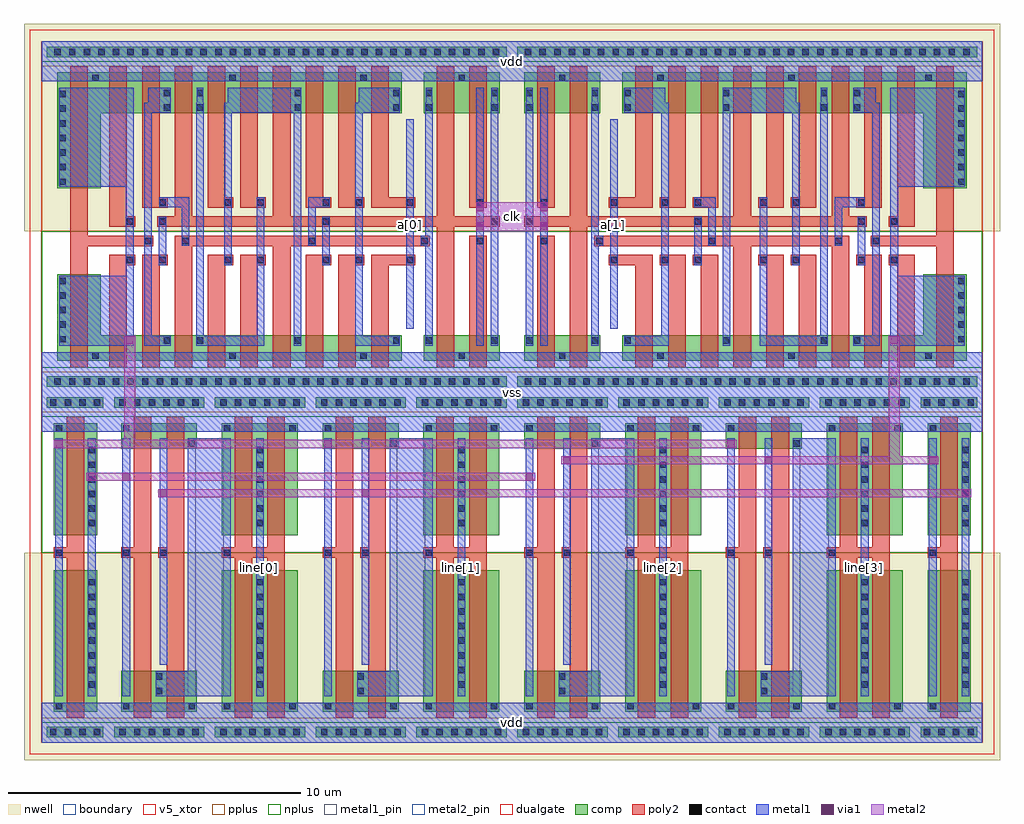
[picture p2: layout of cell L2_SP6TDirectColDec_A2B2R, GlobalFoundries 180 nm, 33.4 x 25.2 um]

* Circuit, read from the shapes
.subckt L2_SP6TDirectColDec_A2B2R a[0] a[1] clk line[0] line[1] line[2] line[3] vdd vss
XM1 L2_Dec5V_nand2_x0_5v0_4/i0 L2_Dec5V_inv_x1_5v0_8/i vss vss nfet_05v0 w=3.835u l=0.6u
XM2 vss n1 L2_Dec5V_inv_x1_5v0_8/i vss nfet_05v0 w=2.965u l=0.6u
XM3 n2 L2_Dec5V_inv_x1_5v0_8/i vss vss nfet_05v0 w=0.88u l=0.6u
XM4 n3 L2_Dec5V_nand2_x0_5v0_4/i0 vss vss nfet_05v0 w=0.88u l=0.6u
XM5 n1 n4 n2 vss nfet_05v0 w=0.88u l=0.6u
XM6 L2_Dec5V_inv_x2_5v0_0/i L2_Dec5V_nand2_x0_5v0_4/i1 n3 vss nfet_05v0 w=0.88u l=0.6u
XM7 n5 n6 n1 vss nfet_05v0 w=0.88u l=0.6u
XM8 vss n7 n5 vss nfet_05v0 w=0.88u l=0.6u
XM9 line[0] L2_Dec5V_inv_x2_5v0_0/i vss vss nfet_05v0 w=3.835u l=0.6u m=2
XM10 n8 n5 vss vss nfet_05v0 w=0.88u l=0.6u
XM11 n7 n6 n8 vss nfet_05v0 w=0.88u l=0.6u
XM12 n9 n4 n7 vss nfet_05v0 w=0.88u l=0.6u
XM13 n10 L2_Dec5V_inv_x1_5v0_8/i vss vss nfet_05v0 w=0.88u l=0.6u
XM14 vss n11 n9 vss nfet_05v0 w=0.88u l=0.6u
XM15 L2_Dec5V_inv_x2_5v0_1/i L2_Dec5V_nand2_x0_5v0_4/i1 n10 vss nfet_05v0 w=0.88u l=0.6u
XM16 n11 a[0] vss vss nfet_05v0 w=0.88u l=0.6u
XM17 line[1] L2_Dec5V_inv_x2_5v0_1/i vss vss nfet_05v0 w=3.835u l=0.6u m=2
XM18 vss n4 n6 vss nfet_05v0 w=0.88u l=0.6u
XM19 n4 clk vss vss nfet_05v0 w=0.88u l=0.6u
XM20 n12 L2_Dec5V_nand2_x0_5v0_4/i0 vss vss nfet_05v0 w=0.88u l=0.6u
XM21 vss clk n13 vss nfet_05v0 w=0.88u l=0.6u
XM22 L2_Dec5V_inv_x2_5v0_2/i L2_Dec5V_inv_x1_5v0_9/i n12 vss nfet_05v0 w=0.88u l=0.6u
XM23 n14 n13 vss vss nfet_05v0 w=0.88u l=0.6u
XM24 vss a[1] n15 vss nfet_05v0 w=0.88u l=0.6u
XM25 line[2] L2_Dec5V_inv_x2_5v0_2/i vss vss nfet_05v0 w=3.835u l=0.6u m=2
XM26 n16 n15 vss vss nfet_05v0 w=0.88u l=0.6u
XM27 n17 n13 n16 vss nfet_05v0 w=0.88u l=0.6u
XM28 n18 n14 n17 vss nfet_05v0 w=0.88u l=0.6u
XM29 n19 L2_Dec5V_inv_x1_5v0_8/i vss vss nfet_05v0 w=0.88u l=0.6u
XM30 vss n20 n18 vss nfet_05v0 w=0.88u l=0.6u
XM31 L2_Dec5V_inv_x2_5v0_3/i L2_Dec5V_inv_x1_5v0_9/i n19 vss nfet_05v0 w=0.88u l=0.6u
XM32 n20 n17 vss vss nfet_05v0 w=0.88u l=0.6u
XM33 n21 n14 n20 vss nfet_05v0 w=0.88u l=0.6u
XM34 line[3] L2_Dec5V_inv_x2_5v0_3/i vss vss nfet_05v0 w=3.835u l=0.6u m=2
XM35 n22 n13 n21 vss nfet_05v0 w=0.88u l=0.6u
XM36 vss L2_Dec5V_inv_x1_5v0_9/i n22 vss nfet_05v0 w=0.88u l=0.6u
XM37 L2_Dec5V_inv_x1_5v0_9/i n21 vss vss nfet_05v0 w=2.965u l=0.6u
XM38 L2_Dec5V_nand2_x0_5v0_4/i1 L2_Dec5V_inv_x1_5v0_9/i vss vss nfet_05v0 w=3.835u l=0.6u
XM39 L2_Dec5V_nand2_x0_5v0_4/i0 L2_Dec5V_inv_x1_5v0_8/i vdd vdd pfet_05v0 w=4.835u l=0.6u
XM40 vdd n1 L2_Dec5V_inv_x1_5v0_8/i vdd pfet_05v0 w=3.965u l=0.6u
XM41 n23 L2_Dec5V_inv_x1_5v0_8/i vdd vdd pfet_05v0 w=1.4u l=0.6u
XM42 L2_Dec5V_inv_x2_5v0_0/i L2_Dec5V_nand2_x0_5v0_4/i0 vdd vdd pfet_05v0 w=1.4u l=0.6u
XM43 n1 n6 n23 vdd pfet_05v0 w=1.4u l=0.6u
XM44 vdd L2_Dec5V_nand2_x0_5v0_4/i1 L2_Dec5V_inv_x2_5v0_0/i vdd pfet_05v0 w=1.4u l=0.6u
XM45 n5 n4 n1 vdd pfet_05v0 w=1.4u l=0.6u
XM46 vdd n7 n5 vdd pfet_05v0 w=1.4u l=0.6u
XM47 line[0] L2_Dec5V_inv_x2_5v0_0/i vdd vdd pfet_05v0 w=4.835u l=0.6u m=2
XM48 n24 n5 vdd vdd pfet_05v0 w=1.4u l=0.6u
XM49 n7 n4 n24 vdd pfet_05v0 w=1.4u l=0.6u
XM50 n25 n6 n7 vdd pfet_05v0 w=1.4u l=0.6u
XM51 L2_Dec5V_inv_x2_5v0_1/i L2_Dec5V_inv_x1_5v0_8/i vdd vdd pfet_05v0 w=1.4u l=0.6u
XM52 vdd n11 n25 vdd pfet_05v0 w=1.4u l=0.6u
XM53 vdd L2_Dec5V_nand2_x0_5v0_4/i1 L2_Dec5V_inv_x2_5v0_1/i vdd pfet_05v0 w=1.4u l=0.6u
XM54 n11 a[0] vdd vdd pfet_05v0 w=1.4u l=0.6u
XM55 line[1] L2_Dec5V_inv_x2_5v0_1/i vdd vdd pfet_05v0 w=4.835u l=0.6u m=2
XM56 vdd n4 n6 vdd pfet_05v0 w=1.4u l=0.6u
XM57 n4 clk vdd vdd pfet_05v0 w=1.4u l=0.6u
XM58 L2_Dec5V_inv_x2_5v0_2/i L2_Dec5V_nand2_x0_5v0_4/i0 vdd vdd pfet_05v0 w=1.4u l=0.6u
XM59 vdd clk n13 vdd pfet_05v0 w=1.4u l=0.6u
XM60 vdd L2_Dec5V_inv_x1_5v0_9/i L2_Dec5V_inv_x2_5v0_2/i vdd pfet_05v0 w=1.4u l=0.6u
XM61 n14 n13 vdd vdd pfet_05v0 w=1.4u l=0.6u
XM62 vdd a[1] n15 vdd pfet_05v0 w=1.4u l=0.6u
XM63 line[2] L2_Dec5V_inv_x2_5v0_2/i vdd vdd pfet_05v0 w=4.835u l=0.6u m=2
XM64 n26 n15 vdd vdd pfet_05v0 w=1.4u l=0.6u
XM65 n17 n14 n26 vdd pfet_05v0 w=1.4u l=0.6u
XM66 n27 n13 n17 vdd pfet_05v0 w=1.4u l=0.6u
XM67 L2_Dec5V_inv_x2_5v0_3/i L2_Dec5V_inv_x1_5v0_8/i vdd vdd pfet_05v0 w=1.4u l=0.6u
XM68 vdd n20 n27 vdd pfet_05v0 w=1.4u l=0.6u
XM69 vdd L2_Dec5V_inv_x1_5v0_9/i L2_Dec5V_inv_x2_5v0_3/i vdd pfet_05v0 w=1.4u l=0.6u
XM70 n20 n17 vdd vdd pfet_05v0 w=1.4u l=0.6u
XM71 n21 n13 n20 vdd pfet_05v0 w=1.4u l=0.6u
XM72 line[3] L2_Dec5V_inv_x2_5v0_3/i vdd vdd pfet_05v0 w=4.835u l=0.6u m=2
XM73 n28 n14 n21 vdd pfet_05v0 w=1.4u l=0.6u
XM74 vdd L2_Dec5V_inv_x1_5v0_9/i n28 vdd pfet_05v0 w=1.4u l=0.6u
XM75 L2_Dec5V_inv_x1_5v0_9/i n21 vdd vdd pfet_05v0 w=3.965u l=0.6u
XM76 L2_Dec5V_nand2_x0_5v0_4/i1 L2_Dec5V_inv_x1_5v0_9/i vdd vdd pfet_05v0 w=4.835u l=0.6u
.ends

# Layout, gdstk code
from math import pi, radians
import gdstk
lib = gdstk.Library(unit=1e-6, precision=1e-09)
def R(c, l, rs):  # rectangles x0, y0, x1, y1
    for r in rs: c.add(gdstk.rectangle(r[:2], r[2:], *l))
def A(c, l, x, y, w, h, nx, ny, dx, dy):  # array of equal rectangles
    R(c, l, [(x+i*dx, y+j*dy, x+i*dx+w, y+j*dy+h) for i in range(nx) for j in range(ny)])
def P(c, l, *ps):  # polygons
    for p in ps: c.add(gdstk.Polygon(p, *l))
boundary = (0, 0)
nwell = (21, 0)
comp = (22, 0)
poly2 = (30, 0)
pplus = (31, 0)
nplus = (32, 0)
contact = (33, 0)
metal1 = (34, 0)
metal1_pin = (34, 10)
via1 = (35, 0)
metal2 = (36, 0)
metal2_pin = (36, 10)
dualgate = (55, 0)
v5_xtor = (112, 1)

l2_dec5v_inv_x2_5v0 = lib.new_cell('L2_Dec5V_inv_x2_5v0')
R(l2_dec5v_inv_x2_5v0, nwell, [(-0.6,5.5,4.05,12.6)])
R(l2_dec5v_inv_x2_5v0, comp, [(0.18,0.18,3.27,0.54), (0.42,1.065,3.02,4.9), (0.42,6.1,3.02,10.935), (0.18,11.46,3.27,11.82)])
P(l2_dec5v_inv_x2_5v0, poly2, [(0.86,0.845),(0.86,5.32),(0.42,5.32),(0.42,5.68),(0.86,5.68),(0.86,11.155),(1.46,11.155),(1.46,5.68),(1.98,5.68),(1.98,11.155),(2.58,11.155),(2.58,0.845),(1.98,0.845),(1.98,5.32),(1.46,5.32),(1.46,0.845)])
R(l2_dec5v_inv_x2_5v0, pplus, [(0,0,3.45,0.7), (0,5.5,3.45,11.165)])
R(l2_dec5v_inv_x2_5v0, nplus, [(0,0.835,3.45,5.5), (0,11.3,3.45,12)])
A(l2_dec5v_inv_x2_5v0, contact, 0.365, 0.25, 0.22, 0.22, 6, 2, 0.5, 11.28)
A(l2_dec5v_inv_x2_5v0, contact, 1.61, 1.88, 0.22, 0.22, 1, 6, 0, 0.5)
A(l2_dec5v_inv_x2_5v0, contact, 1.61, 6.4, 0.22, 0.22, 1, 8, 0, 0.5)
R(l2_dec5v_inv_x2_5v0, contact, [(0.49,1.135,0.71,1.355), (2.73,1.135,2.95,1.355), (0.49,5.39,0.71,5.61), (0.49,10.645,0.71,10.865), (2.73,10.645,2.95,10.865)])
R(l2_dec5v_inv_x2_5v0, metal1, [(0,0,3.45,1.36), (0.47,1.59,0.73,10.41), (1.59,1.59,1.85,10.41), (0,10.64,3.45,12)])
R(l2_dec5v_inv_x2_5v0, metal1_pin, [(0,0,3.45,1.36), (0.47,1.59,0.73,10.41), (1.59,1.59,1.85,10.41), (0,10.64,3.45,12)])
R(l2_dec5v_inv_x2_5v0, dualgate, [(-0.4,-0.4,3.85,12.4)])
R(l2_dec5v_inv_x2_5v0, v5_xtor, [(-0.005,-0.005,3.455,12.005)])
l2_dec5v_inv_x2_5v0.add(gdstk.Label('i', (0.6,6), layer=34, texttype=10))
l2_dec5v_inv_x2_5v0.add(gdstk.Label('nq', (1.72,6), layer=34, texttype=10))
l2_dec5v_inv_x2_5v0.add(gdstk.Label('vdd', (1.725,11.32), layer=34, texttype=10))
l2_dec5v_inv_x2_5v0.add(gdstk.Label('vss', (1.725,0.68), layer=34, texttype=10))

l2_dec5v_nand2_x0_5v0 = lib.new_cell('L2_Dec5V_nand2_x0_5v0')
R(l2_dec5v_nand2_x0_5v0, nwell, [(-0.6,5.5,4.05,12.6)])
R(l2_dec5v_nand2_x0_5v0, comp, [(0.18,0.18,3.27,0.54), (0.42,1.065,3.02,1.945), (0.42,9.535,3.02,10.935), (0.18,11.46,3.27,11.82)])
P(l2_dec5v_nand2_x0_5v0, poly2, [(1.98,0.845),(1.98,5.32),(1.7,5.32),(1.7,5.68),(1.98,5.68),(1.98,11.155),(2.58,11.155),(2.58,0.845)],
  [(0.86,0.845),(0.86,5.32),(0.42,5.32),(0.42,5.68),(0.86,5.68),(0.86,11.155),(1.46,11.155),(1.46,0.845)])
R(l2_dec5v_nand2_x0_5v0, pplus, [(0,0,3.45,0.7), (0,5.5,3.45,11.165)])
R(l2_dec5v_nand2_x0_5v0, nplus, [(0,0.835,3.45,5.5), (0,11.3,3.45,12)])
A(l2_dec5v_nand2_x0_5v0, contact, 0.365, 0.25, 0.22, 0.22, 6, 2, 0.5, 11.28)
R(l2_dec5v_nand2_x0_5v0, contact, [(0.49,1.135,0.71,1.355), (2.73,1.65,2.95,1.87), (0.49,5.39,0.71,5.61), (1.77,5.39,1.99,5.61), (1.61,9.62,1.83,9.84), (1.61,10.12,1.83,10.34), (0.49,10.645,0.71,10.865), (2.73,10.645,2.95,10.865)])
R(l2_dec5v_nand2_x0_5v0, metal1, [(0,0,3.45,1.36), (0.47,1.59,0.73,10.41), (1.75,1.59,2.01,9.33), (0,10.64,3.45,12)])
P(l2_dec5v_nand2_x0_5v0, metal1, [(2.71,1.59),(2.71,9.56),(1.605,9.56),(1.605,10.41),(2.97,10.41),(2.97,1.59)])
R(l2_dec5v_nand2_x0_5v0, metal1_pin, [(0,0,3.45,1.36), (0.47,1.59,0.73,10.41), (1.75,1.59,2.01,9.33), (2.71,1.59,2.97,10.41), (0,10.64,3.45,12)])
R(l2_dec5v_nand2_x0_5v0, dualgate, [(-0.4,-0.4,3.85,12.4)])
R(l2_dec5v_nand2_x0_5v0, v5_xtor, [(-0.005,-0.005,3.455,12.005)])
l2_dec5v_nand2_x0_5v0.add(gdstk.Label('nq', (2.84,6), layer=34, texttype=10))
l2_dec5v_nand2_x0_5v0.add(gdstk.Label('i1', (1.88,5.46), layer=34, texttype=10))
l2_dec5v_nand2_x0_5v0.add(gdstk.Label('i0', (0.6,6), layer=34, texttype=10))
l2_dec5v_nand2_x0_5v0.add(gdstk.Label('vdd', (1.725,11.32), layer=34, texttype=10))
l2_dec5v_nand2_x0_5v0.add(gdstk.Label('vss', (1.725,0.68), layer=34, texttype=10))

l2_dec5v_inv_x1_5v0 = lib.new_cell('L2_Dec5V_inv_x1_5v0')
R(l2_dec5v_inv_x1_5v0, nwell, [(-0.6,5.5,2.9,12.6)])
R(l2_dec5v_inv_x1_5v0, comp, [(0.18,0.18,2.12,0.54), (0.42,1.065,1.9,4.9), (0.42,6.1,1.9,10.935), (0.18,11.46,2.12,11.82)])
P(l2_dec5v_inv_x1_5v0, poly2, [(0.86,0.845),(0.86,5.32),(0.42,5.32),(0.42,5.68),(0.86,5.68),(0.86,11.155),(1.46,11.155),(1.46,0.845)])
R(l2_dec5v_inv_x1_5v0, pplus, [(0,0,2.3,0.7), (0,5.5,2.3,11.165)])
R(l2_dec5v_inv_x1_5v0, nplus, [(0,0.835,2.3,5.5), (0,11.3,2.3,12)])
A(l2_dec5v_inv_x1_5v0, contact, 0.29, 0.25, 0.22, 0.22, 4, 2, 0.5, 11.28)
A(l2_dec5v_inv_x1_5v0, contact, 1.61, 1.88, 0.22, 0.22, 1, 6, 0, 0.5)
A(l2_dec5v_inv_x1_5v0, contact, 1.61, 6.4, 0.22, 0.22, 1, 8, 0, 0.5)
R(l2_dec5v_inv_x1_5v0, contact, [(0.49,1.135,0.71,1.355), (0.49,5.39,0.71,5.61), (0.49,10.645,0.71,10.865)])
R(l2_dec5v_inv_x1_5v0, metal1, [(0,0,2.3,1.36), (0.47,1.59,0.73,10.41), (1.59,1.59,1.85,10.41), (0,10.64,2.3,12)])
R(l2_dec5v_inv_x1_5v0, metal1_pin, [(0,0,2.3,1.36), (0.47,1.59,0.73,10.41), (1.59,1.59,1.85,10.41), (0,10.64,2.3,12)])
R(l2_dec5v_inv_x1_5v0, dualgate, [(-0.4,-0.4,2.7,12.4)])
R(l2_dec5v_inv_x1_5v0, v5_xtor, [(-0.005,-0.005,2.305,12.005)])
l2_dec5v_inv_x1_5v0.add(gdstk.Label('i', (0.6,6), layer=34, texttype=10))
l2_dec5v_inv_x1_5v0.add(gdstk.Label('nq', (1.72,6), layer=34, texttype=10))
l2_dec5v_inv_x1_5v0.add(gdstk.Label('vdd', (1.15,11.32), layer=34, texttype=10))
l2_dec5v_inv_x1_5v0.add(gdstk.Label('vss', (1.15,0.68), layer=34, texttype=10))

l2_dec5v_dff_x1_5v0 = lib.new_cell('L2_Dec5V_dff_x1_5v0')
R(l2_dec5v_dff_x1_5v0, nwell, [(-0.6,5.5,16.7,12.6)])
R(l2_dec5v_dff_x1_5v0, comp, [(0.18,0.18,15.92,0.54), (0.42,1.065,3.02,1.945), (0.42,9.535,3.02,10.935), (0.18,11.46,15.92,11.82)])
P(l2_dec5v_dff_x1_5v0, comp, [(3.78,1.065),(3.78,1.945),(14.08,1.945),(14.08,4.03),(15.56,4.03),(15.56,1.065)],
  [(14.08,6.97),(14.08,9.535),(3.78,9.535),(3.78,10.935),(15.56,10.935),(15.56,6.97)])
R(l2_dec5v_dff_x1_5v0, poly2, [(0.86,0.845,1.46,5.35), (0.86,6.31,1.46,11.155)])
P(l2_dec5v_dff_x1_5v0, poly2, [(12.9,5.65),(12.9,6.01),(13.18,6.01),(13.18,11.155),(13.78,11.155),(13.78,5.65)],
  [(14.52,0.845),(14.52,4.99),(12.27,4.99),(12.27,5.35),(14.52,5.35),(14.52,11.155),(15.12,11.155),(15.12,0.845)],
  [(4.22,0.845),(4.22,4.33),(3.31,4.33),(3.31,4.69),(4.82,4.69),(4.82,0.845)],
  [(7.58,0.845),(7.58,4.99),(2.82,4.99),(2.82,5.35),(11.54,5.35),(11.54,0.845),(10.94,0.845),(10.94,4.99),(8.18,4.99),(8.18,0.845)],
  [(5.06,6.31),(5.06,6.67),(5.34,6.67),(5.34,11.155),(5.94,11.155),(5.94,6.31)],
  [(6.18,6.31),(6.18,6.67),(6.46,6.67),(6.46,11.155),(7.06,11.155),(7.06,6.31)],
  [(8.42,6.31),(8.42,6.67),(8.7,6.67),(8.7,11.155),(9.3,11.155),(9.3,6.31)],
  [(9.54,6.31),(9.54,6.67),(9.82,6.67),(9.82,11.155),(10.42,11.155),(10.42,6.31)],
  [(11.78,6.31),(11.78,6.67),(12.06,6.67),(12.06,11.155),(12.66,11.155),(12.66,6.31)],
  [(5.34,0.845),(5.34,4.33),(5.06,4.33),(5.06,4.69),(5.94,4.69),(5.94,0.845)],
  [(6.46,0.845),(6.46,4.33),(6.18,4.33),(6.18,4.69),(7.06,4.69),(7.06,0.845)],
  [(8.7,0.845),(8.7,4.33),(8.42,4.33),(8.42,4.69),(9.3,4.69),(9.3,0.845)],
  [(9.82,0.845),(9.82,4.33),(9.54,4.33),(9.54,4.69),(10.42,4.69),(10.42,0.845)],
  [(12.06,0.845),(12.06,4.33),(11.78,4.33),(11.78,4.69),(12.66,4.69),(12.66,0.845)],
  [(13.18,0.845),(13.18,4.33),(12.9,4.33),(12.9,4.69),(13.78,4.69),(13.78,0.845)],
  [(3.31,6.31),(3.31,6.67),(4.22,6.67),(4.22,11.155),(4.82,11.155),(4.82,6.31)],
  [(1.98,0.845),(1.98,5.65),(0.42,5.65),(0.42,6.01),(1.98,6.01),(1.98,11.155),(2.58,11.155),(2.58,6.01),(7.58,6.01),(7.58,11.155),(8.18,11.155),(8.18,6.01),(10.94,6.01),(10.94,11.155),(11.54,11.155),(11.54,6.01),(12.14,6.01),(12.14,5.65),(2.58,5.65),(2.58,0.845)])
R(l2_dec5v_dff_x1_5v0, pplus, [(0,0,16.1,0.7), (0,5.5,16.1,11.165)])
R(l2_dec5v_dff_x1_5v0, nplus, [(0,0.835,16.1,5.5), (0,11.3,16.1,12)])
A(l2_dec5v_dff_x1_5v0, contact, 0.44, 0.25, 0.22, 0.22, 31, 2, 0.5, 11.28)
A(l2_dec5v_dff_x1_5v0, contact, 3.85, 1.65, 0.22, 0.22, 3, 2, 3.36, 7.97)
A(l2_dec5v_dff_x1_5v0, contact, 15.27, 1.695, 0.22, 0.22, 1, 5, 0, 0.5)
A(l2_dec5v_dff_x1_5v0, contact, 15.27, 7.085, 0.22, 0.22, 1, 7, 0, 0.5)
A(l2_dec5v_dff_x1_5v0, contact, 3.85, 10.12, 0.22, 0.22, 3, 1, 3.36, 0)
R(l2_dec5v_dff_x1_5v0, contact, [(1.61,1.135,1.83,1.355), (4.97,1.135,5.19,1.355), (9.45,1.135,9.67,1.355), (14.15,1.135,14.37,1.355), (0.49,1.65,0.71,1.87), (2.73,1.65,2.95,1.87), (11.69,1.65,11.91,1.87), (3.38,4.4,3.6,4.62), (5.13,4.4,5.35,4.62), (6.25,4.4,6.47,4.62), (8.49,4.4,8.71,4.62), (9.61,4.4,9.83,4.62), (11.85,4.4,12.07,4.62), (12.97,4.4,13.19,4.62), (0.98,5.06,1.2,5.28), (2.89,5.06,3.11,5.28), (6.74,5.06,6.96,5.28), (11.06,5.06,11.28,5.28), (12.34,5.06,12.56,5.28), (0.49,5.72,0.71,5.94), (6.25,5.72,6.47,5.94), (11.85,5.72,12.07,5.94), (12.97,5.72,13.19,5.94), (0.98,6.38,1.2,6.6), (3.38,6.38,3.6,6.6), (5.13,6.38,5.35,6.6), (6.25,6.38,6.47,6.6), (8.49,6.38,8.71,6.6), (9.61,6.38,9.83,6.6), (11.85,6.38,12.07,6.6), (0.49,9.62,0.71,9.84), (2.73,9.62,2.95,9.84), (11.69,9.62,11.91,9.84), (0.49,10.12,0.71,10.34), (2.73,10.12,2.95,10.34), (11.69,10.12,11.91,10.34), (1.61,10.645,1.83,10.865), (4.97,10.645,5.19,10.865), (9.45,10.645,9.67,10.865), (14.15,10.645,14.37,10.865)])
R(l2_dec5v_dff_x1_5v0, metal1, [(0,0,16.1,1.36), (0.96,1.59,1.22,10.41), (3.36,2.16,3.62,9.33), (6.23,4.34,6.49,6), (11.83,4.34,12.09,6), (0,10.64,16.1,12)])
P(l2_dec5v_dff_x1_5v0, metal1, [(11.685,1.59),(11.685,1.93),(12.32,1.93),(12.32,9.56),(11.685,9.56),(11.685,10.41),(12.45,10.41),(12.45,9.9),(12.58,9.9),(12.58,1.59)],
  [(8.47,1.59),(8.47,6.66),(8.73,6.66),(8.73,1.93),(10.55,1.93),(10.55,9.9),(10.565,9.9),(10.565,10.41),(10.795,10.41),(10.795,9.9),(10.81,9.9),(10.81,1.59)],
  [(3.845,1.59),(3.845,1.93),(5.11,1.93),(5.11,9.56),(3.845,9.56),(3.845,10.41),(5.24,10.41),(5.24,9.9),(5.37,9.9),(5.37,1.59)],
  [(2.71,1.59),(2.71,9.9),(2.725,9.9),(2.725,10.41),(2.955,10.41),(2.955,9.9),(2.97,9.9),(2.97,5.34),(3.115,5.34),(3.115,5),(2.97,5),(2.97,1.59)],
  [(12.95,1.59),(12.95,10.41),(15.495,10.41),(15.495,7.025),(13.21,7.025),(13.21,3.975),(15.495,3.975),(15.495,1.59)],
  [(11.04,5),(11.04,6.66),(12.075,6.66),(12.075,6.32),(11.3,6.32),(11.3,5)],
  [(6.72,5),(6.72,6.32),(6.245,6.32),(6.245,6.66),(6.98,6.66),(6.98,5)],
  [(7.205,1.59),(7.205,1.93),(7.21,1.93),(7.21,9.56),(7.205,9.56),(7.205,10.41),(9.72,10.41),(9.72,9.9),(9.85,9.9),(9.85,4.34),(9.59,4.34),(9.59,9.56),(7.47,9.56),(7.47,1.59)],
  [(0.47,1.59),(0.47,9.9),(0.485,9.9),(0.485,10.41),(0.715,10.41),(0.715,9.9),(0.73,9.9),(0.73,1.59)])
R(l2_dec5v_dff_x1_5v0, metal1_pin, [(0,0,16.1,1.36), (0.96,1.59,1.22,10.41), (12.95,1.59,13.21,10.41), (3.36,2.16,3.62,9.33), (0,10.64,16.1,12)])
R(l2_dec5v_dff_x1_5v0, dualgate, [(-0.4,-0.4,16.5,12.4)])
R(l2_dec5v_dff_x1_5v0, v5_xtor, [(-0.005,-0.005,16.105,12.005)])
l2_dec5v_dff_x1_5v0.add(gdstk.Label('q', (13.08,6), layer=34, texttype=10))
l2_dec5v_dff_x1_5v0.add(gdstk.Label('i', (3.49,5.745), layer=34, texttype=10))
l2_dec5v_dff_x1_5v0.add(gdstk.Label('clk', (1.09,6), layer=34, texttype=10))
l2_dec5v_dff_x1_5v0.add(gdstk.Label('vss', (8.05,0.68), layer=34, texttype=10))
l2_dec5v_dff_x1_5v0.add(gdstk.Label('vdd', (8.05,11.32), layer=34, texttype=10))

l2_sp6tdirectcoldec_a2b2 = lib.new_cell('L2_SP6TDirectColDec_A2B2R')
R(l2_sp6tdirectcoldec_a2b2, boundary, [(0,-12,32.2,12)])
A(l2_sp6tdirectcoldec_a2b2, metal1, 5.01, -10.41, 1.47, 8.82, 4, 1, 6.9, 0)
A(l2_sp6tdirectcoldec_a2b2, metal1, 7.34, -10.41, 0.26, 8.82, 4, 1, 6.9, 0)
R(l2_sp6tdirectcoldec_a2b2, metal1, [(0,-12,32.2,-10.64), (4.05,-3.65,4.31,-3.27), (10.95,-3.65,11.21,-3.27), (31.49,-3.65,31.75,-3.27), (1.59,-3.09,1.85,-2.71), (2.77,-3.09,3.03,-2.71), (16.57,-3.09,16.83,-2.71), (17.85,-2.53,18.11,-2.15), (24.75,-2.53,25.01,-2.15), (30.37,-2.53,30.63,-2.15), (0.47,-1.97,0.73,-1.59), (9.67,-1.97,9.93,-1.59), (23.47,-1.97,23.73,-1.59), (0,-1.36,32.2,1.36), (2.89,1.59,3.15,1.97), (29.05,1.59,29.31,1.97), (12.48,2.16,12.74,9.33), (19.46,2.16,19.72,9.33), (14.88,5.5,15.14,6.5), (17.06,5.5,17.32,6.5), (0,10.64,32.2,12)])
A(l2_sp6tdirectcoldec_a2b2, metal1_pin, 7.34, -10.41, 0.26, 8.82, 4, 1, 6.9, 0)
R(l2_sp6tdirectcoldec_a2b2, metal1_pin, [(0,-12,32.2,-10.64), (0,-1.36,32.2,1.36), (12.48,2.16,12.74,9.33), (19.46,2.16,19.72,9.33), (0,10.64,32.2,12)])
R(l2_sp6tdirectcoldec_a2b2, via1, [(4.05,-3.59,4.31,-3.33), (10.95,-3.59,11.21,-3.33), (31.49,-3.59,31.75,-3.33), (1.59,-3.03,1.85,-2.77), (2.77,-3.03,3.03,-2.77), (16.57,-3.03,16.83,-2.77), (17.85,-2.47,18.11,-2.21), (24.75,-2.47,25.01,-2.21), (30.37,-2.47,30.63,-2.21), (0.47,-1.91,0.73,-1.65), (9.67,-1.91,9.93,-1.65), (23.47,-1.91,23.73,-1.65), (2.89,1.65,3.15,1.91), (29.05,1.65,29.31,1.91), (14.88,5.56,15.14,5.82), (17.06,5.56,17.32,5.82), (14.88,6.18,15.14,6.44), (17.06,6.18,17.32,6.44)])
R(l2_sp6tdirectcoldec_a2b2, metal2, [(3.99,-3.6,31.81,-3.32), (1.53,-3.04,16.89,-2.76), (14.87,5.5,17.33,6.5)])
P(l2_sp6tdirectcoldec_a2b2, metal2, [(17.79,-2.48),(17.79,-2.2),(28.99,-2.2),(28.99,1.92),(29.37,1.92),(29.37,-2.2),(30.69,-2.2),(30.69,-2.48)],
  [(0.41,-1.92),(0.41,-1.64),(2.83,-1.64),(2.83,1.92),(3.21,1.92),(3.21,-1.64),(23.79,-1.64),(23.79,-1.92)])
R(l2_sp6tdirectcoldec_a2b2, metal2_pin, [(14.87,5.5,17.33,6.5)])
l2_sp6tdirectcoldec_a2b2.add(gdstk.Reference(l2_dec5v_inv_x2_5v0, (5.75,0), x_reflection=True))
l2_sp6tdirectcoldec_a2b2.add(gdstk.Reference(l2_dec5v_inv_x2_5v0, (12.65,0), x_reflection=True))
l2_sp6tdirectcoldec_a2b2.add(gdstk.Reference(l2_dec5v_inv_x2_5v0, (19.55,0), x_reflection=True))
l2_sp6tdirectcoldec_a2b2.add(gdstk.Reference(l2_dec5v_inv_x2_5v0, (26.45,0), x_reflection=True))
l2_sp6tdirectcoldec_a2b2.add(gdstk.Reference(l2_dec5v_nand2_x0_5v0, (2.3,0), x_reflection=True))
l2_sp6tdirectcoldec_a2b2.add(gdstk.Reference(l2_dec5v_nand2_x0_5v0, (9.2,0), x_reflection=True))
l2_sp6tdirectcoldec_a2b2.add(gdstk.Reference(l2_dec5v_nand2_x0_5v0, (16.1,0), x_reflection=True))
l2_sp6tdirectcoldec_a2b2.add(gdstk.Reference(l2_dec5v_nand2_x0_5v0, (23,0), x_reflection=True))
l2_sp6tdirectcoldec_a2b2.add(gdstk.Reference(l2_dec5v_inv_x1_5v0, (0,0), x_reflection=True))
l2_sp6tdirectcoldec_a2b2.add(gdstk.Reference(l2_dec5v_inv_x1_5v0, (29.9,0), x_reflection=True))
l2_sp6tdirectcoldec_a2b2.add(gdstk.Reference(l2_dec5v_dff_x1_5v0, (16.1,0)))
l2_sp6tdirectcoldec_a2b2.add(gdstk.Reference(l2_dec5v_dff_x1_5v0, (16.1,0), rotation=pi, x_reflection=True))
l2_sp6tdirectcoldec_a2b2.add(gdstk.Label('line[3]', (28.17,-6), layer=34, texttype=10))
l2_sp6tdirectcoldec_a2b2.add(gdstk.Label('line[2]', (21.27,-6), layer=34, texttype=10))
l2_sp6tdirectcoldec_a2b2.add(gdstk.Label('line[1]', (14.37,-6), layer=34, texttype=10))
l2_sp6tdirectcoldec_a2b2.add(gdstk.Label('a[1]', (19.59,5.745), layer=34, texttype=10))
l2_sp6tdirectcoldec_a2b2.add(gdstk.Label('a[0]', (12.61,5.745), layer=34, texttype=10))
l2_sp6tdirectcoldec_a2b2.add(gdstk.Label('vdd', (16.1,-11.32), layer=34, texttype=10))
l2_sp6tdirectcoldec_a2b2.add(gdstk.Label('vdd', (16.1,11.32), layer=34, texttype=10))
l2_sp6tdirectcoldec_a2b2.add(gdstk.Label('line[0]', (7.47,-6), layer=34, texttype=10))
l2_sp6tdirectcoldec_a2b2.add(gdstk.Label('vss', (16.1,0), layer=34, texttype=10))
l2_sp6tdirectcoldec_a2b2.add(gdstk.Label('clk', (16.1,6), layer=36, texttype=10))

lib.write_gds('L2_SP6TDirectColDec_A2B2R.gds')
